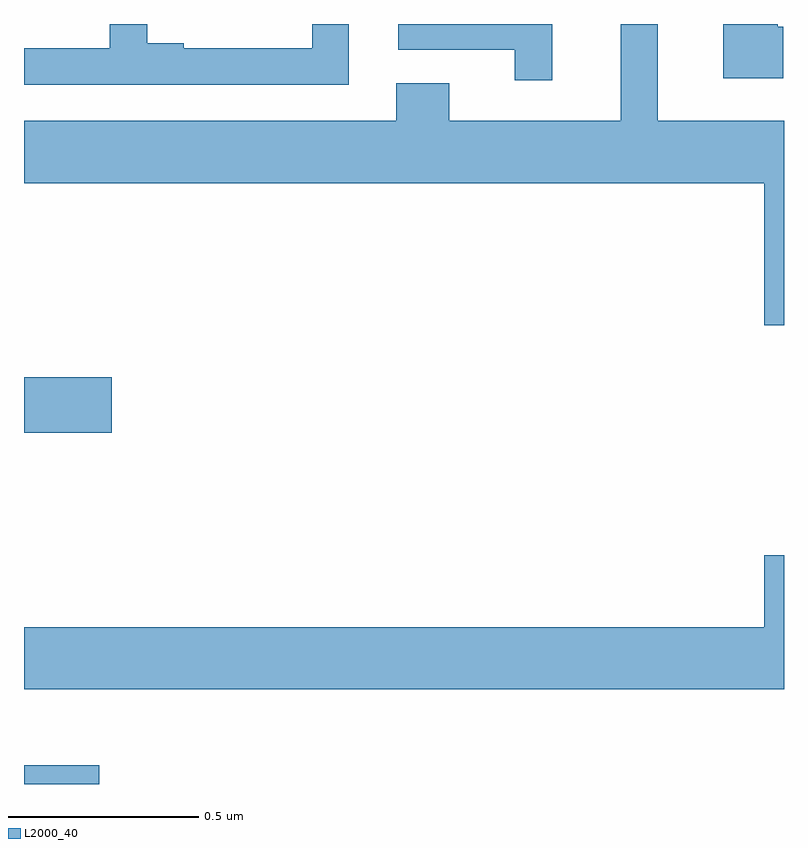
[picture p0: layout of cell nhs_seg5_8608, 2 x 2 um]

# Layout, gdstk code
import gdstk
lib = gdstk.Library(unit=1e-6, precision=1e-09)
def R(c, l, rs):  # rectangles x0, y0, x1, y1
    for r in rs: c.add(gdstk.rectangle(r[:2], r[2:], *l))
def P(c, l, *ps):  # polygons
    for p in ps: c.add(gdstk.Polygon(p, *l))
L2000_40 = (2000, 40)

nhs_seg5_8608 = lib.new_cell('nhs_seg5_8608')
R(nhs_seg5_8608, L2000_40, [(223,901.799,223.198,901.849), (223,902.723,223.231,902.87)])
P(nhs_seg5_8608, L2000_40, [(225,903.544),(224.668,903.544),(224.668,903.799),(224.57,903.799),(224.57,903.544),(224.119,903.544),(224.119,903.643),(223.979,903.643),(223.979,903.544),(223,903.544),(223,903.38),(224.948,903.38),(224.948,903.006),(225,903.006)],
  [(224.998,903.792),(224.983,903.792),(224.983,903.799),(224.84,903.799),(224.84,903.656),(224.998,903.656)],
  [(223.854,903.799),(223.758,903.799),(223.758,903.735),(223.42,903.735),(223.42,903.748),(223.324,903.748),(223.324,903.799),(223.226,903.799),(223.226,903.735),(223,903.735),(223,903.639),(223.854,903.639)],
  [(224.39,903.799),(223.985,903.799),(223.985,903.731),(224.291,903.731),(224.291,903.651),(224.39,903.651)],
  [(225,902.401),(224.948,902.401),(224.948,902.212),(223,902.212),(223,902.048),(225,902.048)])

lib.write_gds('nhs_seg5_8608.gds')
